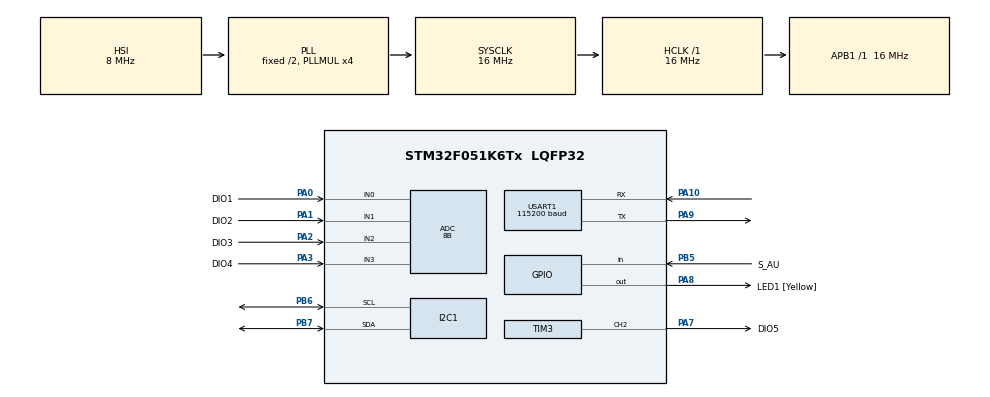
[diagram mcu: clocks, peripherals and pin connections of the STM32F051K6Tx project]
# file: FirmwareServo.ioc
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ADC.Resolution=ADC_RESOLUTION_8B
FREERTOS.INCLUDE_vTaskDelayUntil=1
FREERTOS.Tasks01=mainTask,0,128,StartMainTask,Default,NULL,Dynamic,NULL,NULL;tracesTask,-3,128,StartTracesTask,Default,NULL,Dynamic,NULL,NULL;statusTask,-3,128,StartStatusTask,Default,NULL,Dynamic,NULL,NULL
FREERTOS.configTICK_RATE_HZ=1000
I2C1.SMBusOwnAddress=0x31
I2C1.Timeout=0x000080C3
I2C1.Timing=0x00303D5B
Mcu.Family=STM32F0
Mcu.Name=STM32F051K6Tx
Mcu.Package=LQFP32
NVIC.I2C1_IRQn=true\:3\:0\:false\:false\:true\:true\:true
PA0.GPIO_Label=DIO1
PA0.Mode=IN0
PA0.Signal=ADC_IN0
PA1.GPIO_Label=DIO2
PA1.Mode=IN1
PA1.Signal=ADC_IN1
PA10.Mode=Asynchronous
PA10.Signal=USART1_RX
PA2.GPIO_Label=DIO3
PA2.Mode=IN2
PA2.Signal=ADC_IN2
PA3.GPIO_Label=DIO4
PA3.Mode=IN3
PA3.Signal=ADC_IN3
PA7.GPIO_Label=DIO5
PA7.Signal=S_TIM3_CH2
PA8.GPIO_Label=LED1 [Yellow]
PA8.Signal=GPIO_Output
PA9.Mode=Asynchronous
PA9.Signal=USART1_TX
PB5.GPIO_Label=S_AU
PB5.GPIO_PuPd=GPIO_NOPULL
PB5.Signal=GPIO_Input
PB6.Mode=SMBus-two-wire-Interface
PB6.Signal=I2C1_SCL
PB7.Mode=SMBus-two-wire-Interface
PB7.Signal=I2C1_SDA
ProjectManager.HeapSize=0x200
ProjectManager.StackSize=0x400
ProjectManager.TargetToolchain=SW4STM32
RCC.AHBFreq_Value=16000000
RCC.APB1Freq_Value=16000000
RCC.APB1TimFreq_Value=16000000
RCC.HCLKFreq_Value=16000000
RCC.I2c1ClockSelection=RCC_I2C1CLKSOURCE_SYSCLK
RCC.PLLMUL=RCC_PLL_MUL4
RCC.SYSCLKFreq_VALUE=16000000
RCC.SYSCLKSource=RCC_SYSCLKSOURCE_PLLCLK
SH.S_TIM3_CH2.0=TIM3_CH2,PWM Generation2 CH2
TIM2.AutoReloadPreload=TIM_AUTORELOAD_PRELOAD_DISABLE
TIM2.Channel-Output\ Compare4\ No\ Output=TIM_CHANNEL_4
TIM2.Channel-PWM\ Generation1\ No\ Output=TIM_CHANNEL_1
TIM2.Channel-PWM\ Generation2\ No\ Output=TIM_CHANNEL_2
TIM2.Channel-PWM\ Generation3\ No\ Output=TIM_CHANNEL_3
TIM2.Period=960000
TIM2.Pulse-Output\ Compare4\ No\ Output=72000
TIM2.Pulse-PWM\ Generation1\ No\ Output=72000
TIM2.Pulse-PWM\ Generation2\ No\ Output=72000
TIM2.Pulse-PWM\ Generation3\ No\ Output=72000
TIM3.AutoReloadPreload=TIM_AUTORELOAD_PRELOAD_DISABLE
TIM3.Channel-PWM\ Generation2\ CH2=TIM_CHANNEL_2
TIM3.Period=32000
TIM3.Prescaler=10
TIM3.Pulse-PWM\ Generation2\ CH2=2400
USART1.BaudRate=115200
USART1.VirtualMode-Asynchronous=VM_ASYNC
VP_FREERTOS_VS_ENABLE.Mode=Enabled
VP_TIM2_VS_no_output1.Mode=PWM Generation1 No Output
VP_TIM2_VS_no_output2.Mode=PWM Generation2 No Output
VP_TIM2_VS_no_output3.Mode=PWM Generation3 No Output
VP_TIM2_VS_no_output4.Mode=Output Compare4 No Output
board=FirmwareServo

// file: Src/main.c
/**
  ******************************************************************************
  * File Name          : main.c
  * Description        : Main program body
  ******************************************************************************
  * This notice applies to any and all portions of this file
  * that are not between comment pairs USER CODE BEGIN and
  * USER CODE END. Other portions of this file, whether
  * inserted by the user or by software development tools
  * are owned by their respective copyright owners.
  *
  * Copyright (c) 2018 STMicroelectronics International N.V.
  * All rights reserved.
  *
  * Redistribution and use in source and binary forms, with or without
  * modification, are permitted, provided that the following conditions are met:
  *
  * 1. Redistribution of source code must retain the above copyright notice,
  *    this list of conditions and the following disclaimer.
  * 2. Redistributions in binary form must reproduce the above copyright notice,
  *    this list of conditions and the following disclaimer in the documentation
  *    and/or other materials provided with the distribution.
  * 3. Neither the name of STMicroelectronics nor the names of other
  *    contributors to this software may be used to endorse or promote products
  *    derived from this software without specific written permission.
  * 4. This software, including modifications and/or derivative works of this
  *    software, must execute solely and exclusively on microcontroller or
  *    microprocessor devices manufactured by or for STMicroelectronics.
  * 5. Redistribution and use of this software other than as permitted under
  *    this license is void and will automatically terminate your rights under
  *    this license.
  *
  * THIS SOFTWARE IS PROVIDED BY STMICROELECTRONICS AND CONTRIBUTORS "AS IS"
  * AND ANY EXPRESS, IMPLIED OR STATUTORY WARRANTIES, INCLUDING, BUT NOT
  * LIMITED TO, THE IMPLIED WARRANTIES OF MERCHANTABILITY, FITNESS FOR A
  * PARTICULAR PURPOSE AND NON-INFRINGEMENT OF THIRD PARTY INTELLECTUAL PROPERTY
  * RIGHTS ARE DISCLAIMED TO THE FULLEST EXTENT PERMITTED BY LAW. IN NO EVENT
  * SHALL STMICROELECTRONICS OR CONTRIBUTORS BE LIABLE FOR ANY DIRECT, INDIRECT,
  * INCIDENTAL, SPECIAL, EXEMPLARY, OR CONSEQUENTIAL DAMAGES (INCLUDING, BUT NOT
  * LIMITED TO, PROCUREMENT OF SUBSTITUTE GOODS OR SERVICES; LOSS OF USE, DATA,
  * OR PROFITS; OR BUSINESS INTERRUPTION) HOWEVER CAUSED AND ON ANY THEORY OF
  * LIABILITY, WHETHER IN CONTRACT, STRICT LIABILITY, OR TORT (INCLUDING
  * NEGLIGENCE OR OTHERWISE) ARISING IN ANY WAY OUT OF THE USE OF THIS SOFTWARE,
  * EVEN IF ADVISED OF THE POSSIBILITY OF SUCH DAMAGE.
  *
  ******************************************************************************
  */

#include "main.h"
#include "stm32f0xx_hal.h"
#include "cmsis_os.h"
#include "adc.h"
#include "i2c.h"
#include "tim.h"
#include "usart.h"
#include "gpio.h"

/* USER CODE BEGIN Includes */
#include "smbus2.h"
#include "ServoMotorDriver.h"

/* USER CODE END Includes */

/* USER CODE BEGIN PV */
/* Private variables ---------------------------------------------------------*/

/* USER CODE END PV */

void SystemClock_Config(void);
void MX_FREERTOS_Init(void);

/* USER CODE BEGIN PFP */
/* Private function prototypes -----------------------------------------------*/

/* USER CODE END PFP */

int main(void)
{

  /* USER CODE BEGIN 1 */
  extern char end asm("end");
  extern char estack asm("_estack");
  static char *heap_start = &end;
  static char *ram_end = &estack;

  /* USER CODE END 1 */

  /* MCU Configuration----------------------------------------------------------*/

  /* Reset of all peripherals, Initializes the Flash interface and the Systick. */
  HAL_Init();

  /* Configure the system clock */
  SystemClock_Config();

  /* Initialize all configured peripherals */
  MX_GPIO_Init();
  MX_I2C1_SMBUS_Init();
  MX_USART1_UART_Init();
  MX_TIM2_Init();
  MX_TIM3_Init();
  MX_ADC_Init();

  /* USER CODE BEGIN 2 */
  Inputs_Init();
  smbus2_Init(&hsmbus1);
//  ServoMotor_Init();

  // TU TU TU TU TU TU TU TU TU TU

  HAL_GPIO_WritePin(LED1_GPIO_Port, LED1_Pin, GPIO_PIN_SET);
  HAL_Delay(2000);
  HAL_TIM_PWM_Start_IT(&htim3, TIM_CHANNEL_2);
  __HAL_TIM_SET_COMPARE(&htim3, TIM_CHANNEL_2, 1600);
  HAL_GPIO_WritePin(LED1_GPIO_Port, LED1_Pin, GPIO_PIN_RESET);
  HAL_Delay(4000);
  __HAL_TIM_SET_COMPARE(&htim3, TIM_CHANNEL_2, 1850);
  HAL_GPIO_WritePin(LED1_GPIO_Port, LED1_Pin, GPIO_PIN_SET);
  HAL_Delay(4000);
  __HAL_TIM_SET_COMPARE(&htim3, TIM_CHANNEL_2, 1600);

  //  HAL_GPIO_WritePin(DIO5_GPIO_Port, DIO5_Pin, GPIO_PIN_SET);

  // TU TU TU TU TU TU TU TU TU TU

  // Welcome
  printf("FirmwareServo (" __DATE__ " - " __TIME__ ")\r\n");
  printf("  heap_start = %p\r\n", heap_start);
  printf("  ram_end    = %p\r\n", ram_end);
  /* USER CODE END 2 */

  /* Call init function for freertos objects (in freertos.c) */
  MX_FREERTOS_Init();

  /* Start scheduler */
  osKernelStart();

  /* We should never get here as control is now taken by the scheduler */

  /* Infinite loop */
  while (1)
  {

  }

}

/** System Clock Configuration
*/
void SystemClock_Config(void)
{

  RCC_OscInitTypeDef RCC_OscInitStruct;
  RCC_ClkInitTypeDef RCC_ClkInitStruct;
  RCC_PeriphCLKInitTypeDef PeriphClkInit;

    /**Initializes the CPU, AHB and APB busses clocks
    */
  RCC_OscInitStruct.OscillatorType = RCC_OSCILLATORTYPE_HSI|RCC_OSCILLATORTYPE_HSI14;
  RCC_OscInitStruct.HSIState = RCC_HSI_ON;
  RCC_OscInitStruct.HSI14State = RCC_HSI14_ON;
  RCC_OscInitStruct.HSICalibrationValue = 16;
  RCC_OscInitStruct.HSI14CalibrationValue = 16;
  RCC_OscInitStruct.PLL.PLLState = RCC_PLL_ON;
  RCC_OscInitStruct.PLL.PLLSource = RCC_PLLSOURCE_HSI;
  RCC_OscInitStruct.PLL.PLLMUL = RCC_PLL_MUL4;
  RCC_OscInitStruct.PLL.PREDIV = RCC_PREDIV_DIV1;
  if (HAL_RCC_OscConfig(&RCC_OscInitStruct) != HAL_OK)
  {
    _Error_Handler(__FILE__, __LINE__);
  }

    /**Initializes the CPU, AHB and APB busses clocks
    */
  RCC_ClkInitStruct.ClockType = RCC_CLOCKTYPE_HCLK|RCC_CLOCKTYPE_SYSCLK
                              |RCC_CLOCKTYPE_PCLK1;
  RCC_ClkInitStruct.SYSCLKSource = RCC_SYSCLKSOURCE_PLLCLK;
  RCC_ClkInitStruct.AHBCLKDivider = RCC_SYSCLK_DIV1;
  RCC_ClkInitStruct.APB1CLKDivider = RCC_HCLK_DIV1;

  if (HAL_RCC_ClockConfig(&RCC_ClkInitStruct, FLASH_LATENCY_0) != HAL_OK)
  {
    _Error_Handler(__FILE__, __LINE__);
  }

  PeriphClkInit.PeriphClockSelection = RCC_PERIPHCLK_USART1|RCC_PERIPHCLK_I2C1;
  PeriphClkInit.Usart1ClockSelection = RCC_USART1CLKSOURCE_PCLK1;
  PeriphClkInit.I2c1ClockSelection = RCC_I2C1CLKSOURCE_SYSCLK;
  if (HAL_RCCEx_PeriphCLKConfig(&PeriphClkInit) != HAL_OK)
  {
    _Error_Handler(__FILE__, __LINE__);
  }

    /**Configure the Systick interrupt time
    */
  HAL_SYSTICK_Config(HAL_RCC_GetHCLKFreq()/1000);

    /**Configure the Systick
    */
  HAL_SYSTICK_CLKSourceConfig(SYSTICK_CLKSOURCE_HCLK);

  /* SysTick_IRQn interrupt configuration */
  HAL_NVIC_SetPriority(SysTick_IRQn, 3, 0);
}

void _Error_Handler(char * file, int line)
{
  while(1)
  {
  }
}

/************************ (C) COPYRIGHT STMicroelectronics *****END OF FILE****/

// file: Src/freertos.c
/**
  ******************************************************************************
  * File Name          : freertos.c
  * Description        : Code for freertos applications
  ******************************************************************************
  * This notice applies to any and all portions of this file
  * that are not between comment pairs USER CODE BEGIN and
  * USER CODE END. Other portions of this file, whether
  * inserted by the user or by software development tools
  * are owned by their respective copyright owners.
  *
  * Copyright (c) 2018 STMicroelectronics International N.V.
  * All rights reserved.
  *
  * Redistribution and use in source and binary forms, with or without
  * modification, are permitted, provided that the following conditions are met:
  *
  * 1. Redistribution of source code must retain the above copyright notice,
  *    this list of conditions and the following disclaimer.
  * 2. Redistributions in binary form must reproduce the above copyright notice,
  *    this list of conditions and the following disclaimer in the documentation
  *    and/or other materials provided with the distribution.
  * 3. Neither the name of STMicroelectronics nor the names of other
  *    contributors to this software may be used to endorse or promote products
  *    derived from this software without specific written permission.
  * 4. This software, including modifications and/or derivative works of this
  *    software, must execute solely and exclusively on microcontroller or
  *    microprocessor devices manufactured by or for STMicroelectronics.
  * 5. Redistribution and use of this software other than as permitted under
  *    this license is void and will automatically terminate your rights under
  *    this license.
  *
  * THIS SOFTWARE IS PROVIDED BY STMICROELECTRONICS AND CONTRIBUTORS "AS IS"
  * AND ANY EXPRESS, IMPLIED OR STATUTORY WARRANTIES, INCLUDING, BUT NOT
  * LIMITED TO, THE IMPLIED WARRANTIES OF MERCHANTABILITY, FITNESS FOR A
  * PARTICULAR PURPOSE AND NON-INFRINGEMENT OF THIRD PARTY INTELLECTUAL PROPERTY
  * RIGHTS ARE DISCLAIMED TO THE FULLEST EXTENT PERMITTED BY LAW. IN NO EVENT
  * SHALL STMICROELECTRONICS OR CONTRIBUTORS BE LIABLE FOR ANY DIRECT, INDIRECT,
  * INCIDENTAL, SPECIAL, EXEMPLARY, OR CONSEQUENTIAL DAMAGES (INCLUDING, BUT NOT
  * LIMITED TO, PROCUREMENT OF SUBSTITUTE GOODS OR SERVICES; LOSS OF USE, DATA,
  * OR PROFITS; OR BUSINESS INTERRUPTION) HOWEVER CAUSED AND ON ANY THEORY OF
  * LIABILITY, WHETHER IN CONTRACT, STRICT LIABILITY, OR TORT (INCLUDING
  * NEGLIGENCE OR OTHERWISE) ARISING IN ANY WAY OUT OF THE USE OF THIS SOFTWARE,
  * EVEN IF ADVISED OF THE POSSIBILITY OF SUCH DAMAGE.
  *
  ******************************************************************************
  */

#include "FreeRTOS.h"
#include "task.h"
#include "cmsis_os.h"

/* USER CODE BEGIN Includes */
#include "main.h"
#include "usart.h"

#include "traces.h"
#include "status.h"
#include "actions.h"

/* USER CODE END Includes */

osThreadId mainTaskHandle;
osThreadId tracesTaskHandle;
osThreadId statusTaskHandle;

void StartMainTask(void const * argument);
void StartTracesTask(void const * argument);
void StartStatusTask(void const * argument);

void MX_FREERTOS_Init(void); /* (MISRA C 2004 rule 8.1) */

/* Hook prototypes */

/* Init FreeRTOS */

void MX_FREERTOS_Init(void) {

  /* Create the thread(s) */
  /* definition and creation of mainTask */
  osThreadDef(mainTask, StartMainTask, osPriorityNormal, 0, 128);
  mainTaskHandle = osThreadCreate(osThread(mainTask), NULL);

  /* definition and creation of tracesTask */
  osThreadDef(tracesTask, StartTracesTask, osPriorityIdle, 0, 128);
  tracesTaskHandle = osThreadCreate(osThread(tracesTask), NULL);

  /* definition and creation of statusTask */
  osThreadDef(statusTask, StartStatusTask, osPriorityIdle, 0, 128);
  statusTaskHandle = osThreadCreate(osThread(statusTask), NULL);

}

/* StartMainTask function */
void StartMainTask(void const * argument)
{

  /* USER CODE BEGIN StartMainTask */
  /* Infinite loop */
  for(;;)
  {
    Update_Process();
    osDelay(10);
  }
  /* USER CODE END StartMainTask */
}

/* StartTracesTask function */
void StartTracesTask(void const * argument)
{
  /* USER CODE BEGIN StartTracesTask */
  Traces_Init(&huart1);
  /* Infinite loop */
  for(;;)
  {
    osDelay(1);
    Traces_Process();
  }
  /* USER CODE END StartTracesTask */
}

/* StartStatusTask function */
void StartStatusTask(void const * argument)
{
  /* USER CODE BEGIN StartStatusTask */
  Status_Init(LED1_GPIO_Port, LED1_Pin);
  /* Infinite loop */
  for(;;)
  {
	Status_Process(xTaskGetTickCount());
	osDelay(10);
  }
  /* USER CODE END StartStatusTask */
}

/************************ (C) COPYRIGHT STMicroelectronics *****END OF FILE****/
